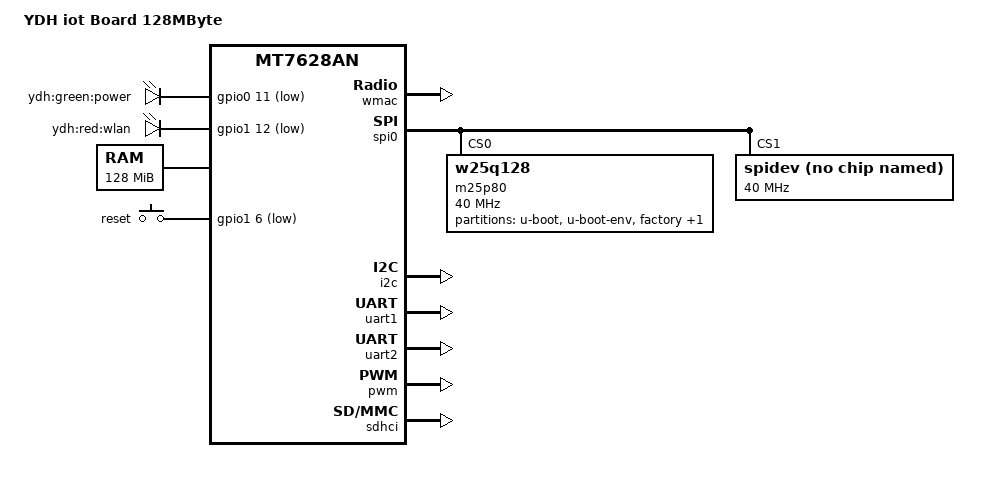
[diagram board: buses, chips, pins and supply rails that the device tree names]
/dts-v1/;

#include "mt7628an.dtsi"

#include <dt-bindings/input/input.h>

/ {
	compatible = "mediatek,ydh", "mediatek,mt7628an-soc";
	model = "YDH iot Board 128MByte";

	chosen {
		bootargs = "console=ttyS0,57600";
	};

	gpio-leds {
		compatible = "gpio-leds";

		green {
			label = "ydh:green:power";
			gpios = <&gpio0 11 1>;
		};

		red {
			label = "ydh:red:wlan";
			gpios = <&gpio1 12 1>;
		};
	};

	memory@0 {
		device_type = "memory";
		reg = <0x0 0x8000000>;
	};

	gpio-keys-polled {
		compatible = "gpio-keys-polled";
		#address-cells = <1>;
		#size-cells = <0>;
		poll-interval = <20>;

		wps {
			label = "reset";
			gpios = <&gpio1 6 1>;
			linux,code = <0x211>;
		};
	};
};

&pinctrl {
	state_default: pinctrl0 {
		gpio {
			ralink,group = "gpio";
			ralink,function = "gpio";
		};

		perst {
			ralink,group = "perst";
			ralink,function = "gpio";
		};

		refclk {
			ralink,group = "refclk";
			ralink,function = "gpio";
		};

		i2s {
			ralink,group = "i2s";
			ralink,function = "gpio";
		};

		spis {
			ralink,group = "spis";
			ralink,function = "gpio";
		};

		wled_kn {
			ralink,group = "wled_kn";
			ralink,function = "gpio";
		};

		wled_an {
			ralink,group = "wled_an";
			ralink,function = "gpio";
		};

		wdt {
			ralink,group = "wdt";
			ralink,function = "gpio";
		};
	};
};

&wmac {
	status = "okay";
};

&spi0 {
	status = "okay";

	pinctrl-names = "default";
	pinctrl-0 = <&spi_pins>, <&spi_cs1_pins>;

	m25p80@0 {
		#address-cells = <1>;
		#size-cells = <1>;
		compatible = "w25q128";
		reg = <0 0>;
		linux,modalias = "m25p80", "w25q128";
		spi-max-frequency = <40000000>;
		m25p,chunked-io = <31>;

		partition@0 {
			label = "u-boot";
			reg = <0x0 0x30000>;
			read-only;
		};

		partition@30000 {
			label = "u-boot-env";
			reg = <0x30000 0x10000>;
		};

		factory: partition@40000 {
			label = "factory";
			reg = <0x40000 0x10000>;
		};

		partition@50000 {
			label = "firmware";
			reg = <0x50000 0x0fb0000>;
		};
	};


	spidev@1 {
		#address-cells = <1>;
		#size-cells = <1>;
		compatible = "spidev";
		reg = <1 0>;
		spi-max-frequency = <40000000>;
	};

};

&i2c {
	status = "okay";
};

&uart1 {
	status = "okay";
};

&uart2 {
	status = "okay";
};

&pwm {
	status = "okay";
};

&ethernet {
	mtd-mac-address = <&factory 0x28>;
};

&wmac {
	ralink,mtd-eeprom = <&factory 0>;
};

&sdhci {
	status = "okay";
	mediatek,cd-low;
};
